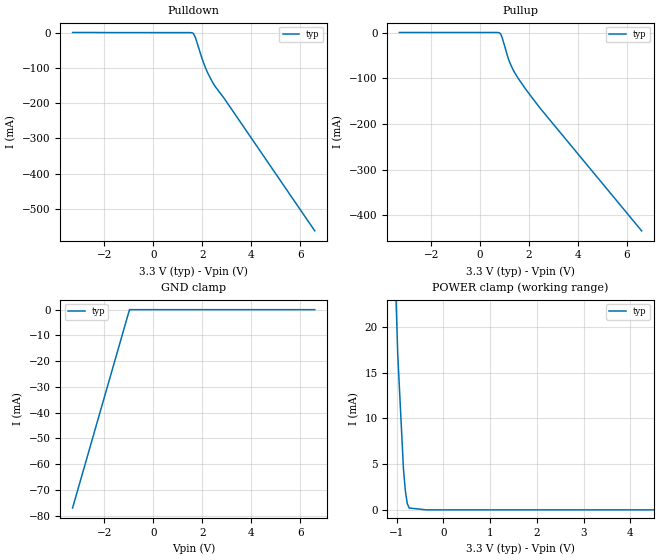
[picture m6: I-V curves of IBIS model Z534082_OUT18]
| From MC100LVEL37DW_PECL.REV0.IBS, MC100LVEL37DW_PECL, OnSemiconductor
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| (C) COPYRIGHT 1993-2000
| MENTOR GRAPHICS CORPORATION
| ICX STANDARD LIBRARY, ICX PROJECT MODELING,
| ICX CUSTOM MODELING, ICX VENDOR MODEL
| ALL RIGHTS RESERVED.
| THE FOLLOWING ARE TRADEMARKS OR SERVICE MARKS OF
| MENTOR GRAPHICS CORPORATION:ICX (R), ICX STANDARD
| LIBRARY(R), ICX PROJECT MODELING(R), ICX CUSTOM
| MODELING(R), qualityIBIS(TM), MODELVIEWER(TM),
| AND MODELEDITOR(TM)
| ALL COPIES OF SOFTWARE, INCLUDING BUT NOT LIMITED TO
| ANY MODIFICATIONS, ENHANCEMENTS OR DERIVATIVE WORKS,
| MUST CONTAIN ALL MENTOR GRAPHICS CORPORATION'S
| NOTICES AND LEGENDS, INCLUDING THOSE EMBEDDED IN
| SOFTWARE AND THOSE AFFIXED TO SOFTWARE MEDIUM
| AND CONTAINER, AS RECEIVED FROM MENTOR GRAPHICS
| CORPORATION.
| Model Application Version 1.89 2/18/99.
[Model] Z534082_OUT18
Model_type Output_ECL
Vref=1.300V
Rref=50.00ohms
Cref=0.000F
Vmeas=2.207V
C_comp 8.000pF NA NA
| variable typ   min   max
[Voltage Range] 3.300V NA NA
[POWER Clamp Reference] 3.300V NA NA
[Pullup Reference] 3.300V NA NA
[Pulldown Reference] 3.300V NA NA
[GND Clamp Reference] 0.000V NA NA
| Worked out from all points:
|   POWER clamp passes 1 mA (typ) near -0.78 V on its own axis
[GND Clamp]
-3.3V     -77.03mA   NA         NA
-972.8mV  0A         NA         NA
6.6V      0A         NA         NA
[Pulldown]
-3.3V     332uA      NA         NA
1.517V    0A         NA         NA
1.638V    -2.7mA     NA         NA
1.72V     -13.4mA    NA         NA
1.983V    -71.7mA    NA         NA
2.125V    -98.5mA    NA         NA
2.409V    -139.4mA   NA         NA
2.53V     -152.9mA   NA         NA
2.895V    -186.4mA   NA         NA
6.6V      -562.7mA   NA         NA
[Pullup]
-3.3V     0A         NA         NA
706mV     0A         NA         NA
807mV     -1.4mA     NA         NA
848mV     -4.3mA     NA         NA
909mV     -12.9mA    NA         NA
1.152V    -57.6mA    NA         NA
1.253V    -71.1mA    NA         NA
1.375V    -84.4mA    NA         NA
1.537V    -99mA      NA         NA
1.861V    -124.1mA   NA         NA
2.449V    -165.5mA   NA         NA
6.6V      -433.9mA   NA         NA
[POWER Clamp]
-3.3V     613.5mA    NA         NA
-1.058V   30.4mA     NA         NA
-977mV    17mA       NA         NA
-855mV    4.5mA      NA         NA
-815mV    2.1mA      NA         NA
-774mV    700uA      NA         NA
-733mV    200uA      NA         NA
-366.5mV  0A         NA         NA
6.6V      0A         NA         NA
[Ramp]
| variable typ min max
dV/dt_r 378.9m/500.6p NA NA
dV/dt_f 378.9m/481.1p NA NA
R_load = 50.00Ohms
